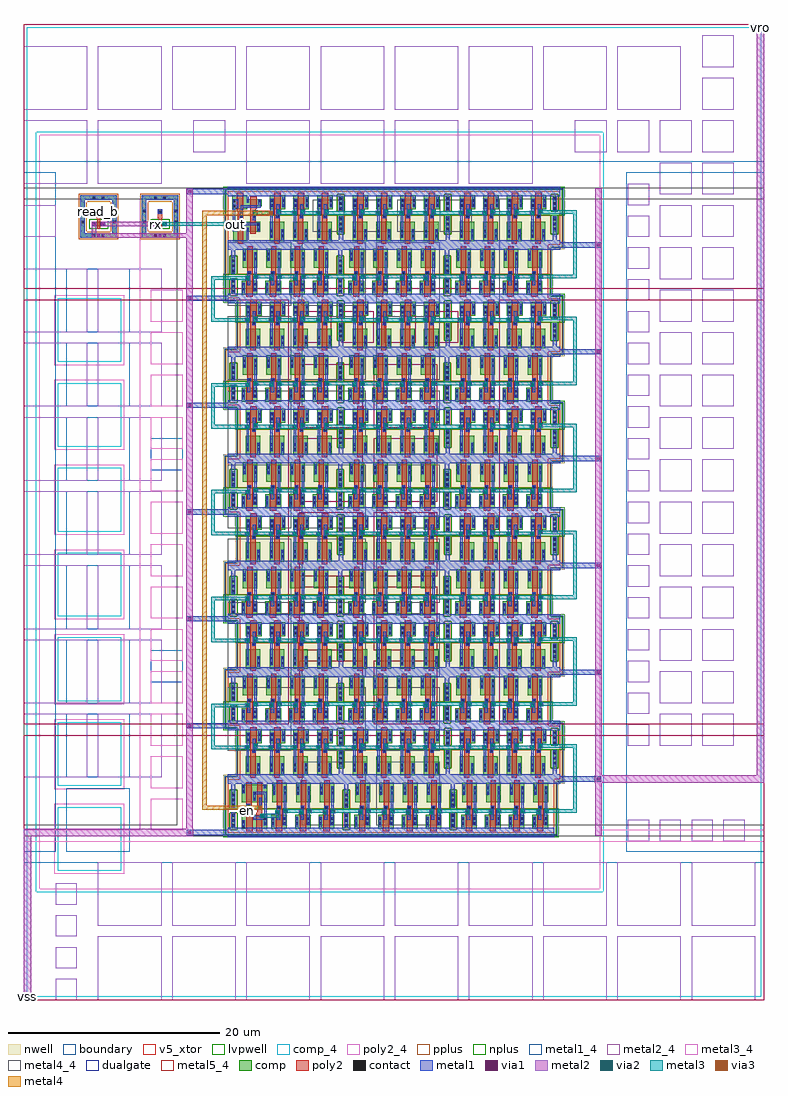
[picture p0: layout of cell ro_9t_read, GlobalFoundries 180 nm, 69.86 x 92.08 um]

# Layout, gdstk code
from math import pi, radians
import gdstk
lib = gdstk.Library(unit=1e-6, precision=1e-09)
def R(c, l, rs):  # rectangles x0, y0, x1, y1
    for r in rs: c.add(gdstk.rectangle(r[:2], r[2:], *l))
def A(c, l, x, y, w, h, nx, ny, dx, dy):  # array of equal rectangles
    R(c, l, [(x+i*dx, y+j*dy, x+i*dx+w, y+j*dy+h) for i in range(nx) for j in range(ny)])
def P(c, l, *ps):  # polygons
    for p in ps: c.add(gdstk.Polygon(p, *l))
boundary = (0, 0)
nwell = (21, 0)
comp = (22, 0)
comp_4 = (22, 4)
poly2 = (30, 0)
poly2_4 = (30, 4)
pplus = (31, 0)
nplus = (32, 0)
contact = (33, 0)
metal1 = (34, 0)
metal1_4 = (34, 4)
via1 = (35, 0)
metal2 = (36, 0)
metal2_4 = (36, 4)
via2 = (38, 0)
via3 = (40, 0)
metal3 = (42, 0)
metal3_4 = (42, 4)
metal4 = (46, 0)
metal4_4 = (46, 4)
dualgate = (55, 0)
metal5_4 = (81, 4)
v5_xtor = (112, 1)
lvpwell = (204, 0)

ro_9t__filltie = lib.new_cell('ro_9t__filltie')
R(ro_9t__filltie, boundary, [(0,0,1.12,5.04)])
R(ro_9t__filltie, nwell, [(-0.43,2.265,1.55,5.47)])
R(ro_9t__filltie, comp, [(0.36,0.41,0.72,1.785), (0.36,2.425,0.72,3.855)])
R(ro_9t__filltie, pplus, [(0.2,0.25,0.88,1.865)])
P(ro_9t__filltie, pplus, [(-0.2,2.265),(-0.2,5.24),(1.32,5.24),(1.32,2.265),(0.88,2.265),(0.88,4.015),(0.2,4.015),(0.2,2.265)])
P(ro_9t__filltie, nplus, [(-0.2,-0.2),(-0.2,2.265),(0.2,2.265),(0.2,4.015),(0.88,4.015),(0.88,1.865),(0.2,1.865),(0.2,0.25),(0.88,0.25),(0.88,4.015),(0.88,2.265),(1.32,2.265),(1.32,-0.2)])
A(ro_9t__filltie, contact, 0.43, 0.555, 0.22, 0.22, 1, 3, 0, 0.47)
A(ro_9t__filltie, contact, 0.43, 2.495, 0.22, 0.22, 1, 3, 0, 0.47)
P(ro_9t__filltie, metal1, [(0,-0.45),(0,0.45),(0.33,0.45),(0.33,1.91),(0.71,1.91),(0.71,0.45),(1.12,0.45),(1.12,-0.45)],
  [(0.33,2.34),(0.33,4.59),(0,4.59),(0,5.49),(1.12,5.49),(1.12,4.59),(0.71,4.59),(0.71,2.34)])
R(ro_9t__filltie, dualgate, [(-0.28,-0.28,1.4,5.32)])
R(ro_9t__filltie, v5_xtor, [(0,0,1.12,5.04)])
R(ro_9t__filltie, lvpwell, [(-0.43,-0.43,1.55,2.265)])
ro_9t__filltie.add(gdstk.Label('& Vendor GLOBALFOUNDRIES', (0,2), layer=63, texttype=63))
ro_9t__filltie.add(gdstk.Label('& Product GF018hv5v_green_sc9', (0,1.5), layer=63, texttype=63))
ro_9t__filltie.add(gdstk.Label('& Version 2015q2v2', (0,1), layer=63, texttype=63))
ro_9t__filltie.add(gdstk.Label('& Metric 1.00', (0,0.5), layer=63, texttype=63))

ro_9t__inv_1 = lib.new_cell('ro_9t__inv_1')
R(ro_9t__inv_1, boundary, [(0,0,2.24,5.04)])
R(ro_9t__inv_1, nwell, [(-0.43,2.265,2.67,5.47)])
R(ro_9t__inv_1, comp, [(0.18,0.345,1.66,1.665), (0.28,2.865,1.66,4.695)])
P(ro_9t__inv_1, poly2, [(0.62,0.125),(0.62,1.885),(0.72,1.885),(0.72,4.915),(1.22,4.915),(1.22,0.125)])
R(ro_9t__inv_1, pplus, [(-0.2,2.265,2.44,5.24)])
R(ro_9t__inv_1, nplus, [(-0.2,-0.2,2.44,2.265)])
R(ro_9t__inv_1, contact, [(0.25,0.74,0.47,0.96), (1.37,0.74,1.59,0.96), (0.25,1.21,0.47,1.43), (1.37,1.21,1.59,1.43), (0.79,1.835,1.01,2.055), (0.79,2.305,1.01,2.525), (0.35,3.61,0.57,3.83), (1.37,3.61,1.59,3.83), (0.35,4.08,0.57,4.3), (1.37,4.08,1.59,4.3)])
P(ro_9t__inv_1, metal1, [(0.71,1.21),(0.71,2.53),(1.07,2.53),(1.07,2.3),(1.015,2.3),(1.015,1.21)],
  [(1.27,0.68),(1.27,2.15),(1.365,2.15),(1.365,4.36),(1.595,4.36),(1.595,0.68)],
  [(0,-0.45),(0,0.45),(0.245,0.45),(0.245,1.49),(0.475,1.49),(0.475,0.45),(2.24,0.45),(2.24,-0.45)],
  [(0.345,3.55),(0.345,4.59),(0,4.59),(0,5.49),(2.24,5.49),(2.24,4.59),(0.575,4.59),(0.575,3.55)])
R(ro_9t__inv_1, dualgate, [(-0.28,-0.28,2.52,5.32)])
R(ro_9t__inv_1, v5_xtor, [(0,0,2.24,5.04)])
R(ro_9t__inv_1, lvpwell, [(-0.43,-0.43,2.67,2.265)])
ro_9t__inv_1.add(gdstk.Label('& Vendor GLOBALFOUNDRIES', (0,2), layer=63, texttype=63))
ro_9t__inv_1.add(gdstk.Label('& Product GF018hv5v_green_sc9', (0,1.5), layer=63, texttype=63))
ro_9t__inv_1.add(gdstk.Label('& Version 2015q2v2', (0,1), layer=63, texttype=63))
ro_9t__inv_1.add(gdstk.Label('& Metric 1.00', (0,0.5), layer=63, texttype=63))

ro_9t_read__density_fill = lib.new_cell('ro_9t_read__density_fill')
A(ro_9t_read__density_fill, comp_4, -16.05, -3.6, 6, 6, 1, 7, 0, 8)
P(ro_9t_read__density_fill, comp_4, [(-18.95,-15.5),(-18.95,66.08),(-18.05,66.08),(-18.05,-5.6),(35.41,-5.6),(35.41,66.08),(-18.95,66.08),(-18.95,75.98),(50.31,75.98),(50.31,-15.5)])
A(ro_9t_read__density_fill, poly2_4, -16.35, -3.9, 6.6, 6.6, 1, 7, 0, 8)
P(ro_9t_read__density_fill, poly2_4, [(-19.25,-15.8),(-19.25,65.78),(-17.75,65.78),(-17.75,-5.3),(35.11,-5.3),(35.11,65.78),(-19.25,65.78),(-19.25,76.28),(50.61,76.28),(50.61,-15.8)])
A(ro_9t_read__density_fill, metal1_4, -15.25, -1.8, 6, 6, 1, 8, 0, 7)
R(ro_9t_read__density_fill, metal1_4, [(-19.25,-15.8,50.61,-2.8), (-19.25,-1.8,-16.25,62.28), (37.61,-1.8,50.61,62.28), (-7.25,14.2,-4.25,17.2), (-7.25,34.2,-4.25,37.2), (-19.25,63.28,50.61,76.28)])
A(ro_9t_read__density_fill, metal2_4, -16.25, -15.8, 2, 2, 1, 4, 0, 3)
A(ro_9t_read__density_fill, metal2_4, -12.25, -15.8, 6, 6, 9, 2, 7, 7)
A(ro_9t_read__density_fill, metal2_4, 37.75, -0.8, 2, 2, 4, 1, 3, 0)
A(ro_9t_read__density_fill, metal2_4, -19.25, 5.2, 6, 6, 1, 7, 0, 7)
A(ro_9t_read__density_fill, metal2_4, -12.25, 5.2, 6, 6, 1, 7, 0, 7)
A(ro_9t_read__density_fill, metal2_4, 37.75, 8.2, 2, 2, 1, 18, 0, 3)
A(ro_9t_read__density_fill, metal2_4, 40.75, 8.2, 3, 3, 1, 14, 0, 4)
A(ro_9t_read__density_fill, metal2_4, 44.75, 8.2, 3, 3, 1, 14, 0, 4)
A(ro_9t_read__density_fill, metal2_4, 1.75, 61.2, 6, 6, 4, 1, 7, 0)
A(ro_9t_read__density_fill, metal2_4, 32.75, 64.2, 3, 3, 4, 1, 4, 0)
A(ro_9t_read__density_fill, metal2_4, -19.25, 68.2, 6, 6, 9, 1, 7, 0)
R(ro_9t_read__density_fill, metal2_4, [(-19.25,56.2,-16.25,59.2), (-19.25,61.2,-13.25,67.2), (-12.25,61.2,-6.25,67.2), (-3.25,64.2,-0.25,67.2), (44.75,68.2,47.75,71.2), (44.75,72.2,47.75,75.2)])
A(ro_9t_read__density_fill, metal3_4, -7.25, 0.2, 3, 3, 1, 13, 0, 4)
R(ro_9t_read__density_fill, metal3_4, [(-19.25,-15.8,50.61,-0.8), (-19.25,0.2,-8.25,59.78), (35.11,0.2,50.61,59.78), (-19.25,60.78,50.61,76.28)])
A(ro_9t_read__density_fill, metal4_4, 0, 7.7, 6, 6, 3, 7, 7, 7)
A(ro_9t_read__density_fill, metal4_4, 8, 56.7, 3, 3, 4, 1, 4, 0)
R(ro_9t_read__density_fill, metal4_4, [(-19.25,-15.8,50.61,-0.3), (-19.25,0.7,-4.75,59.78), (7,0.7,13,6.7), (14,0.7,20,6.7), (25.61,0.7,50.61,59.78), (-19.25,60.78,50.61,76.28)])
A(ro_9t_read__density_fill, metal5_4, 6.75, 10.2, 6, 6, 1, 5, 0, 7)
A(ro_9t_read__density_fill, metal5_4, 13.75, 10.2, 6, 6, 1, 5, 0, 7)
A(ro_9t_read__density_fill, metal5_4, 6.75, 46.2, 3, 3, 4, 1, 4, 0)
R(ro_9t_read__density_fill, metal5_4, [(-19.25,-15.8,50.61,9.2), (-19.25,10.2,5.75,50.28), (25.61,10.2,50.61,50.28), (-19.25,51.28,50.61,76.28)])

ro_9t__buf_1 = lib.new_cell('ro_9t__buf_1')
R(ro_9t__buf_1, boundary, [(0,0,3.36,5.04)])
R(ro_9t__buf_1, nwell, [(-0.43,2.265,3.79,5.47)])
P(ro_9t__buf_1, comp, [(0.28,2.87),(0.28,3.785),(1.52,3.785),(1.52,4.7),(2.86,4.7),(2.86,2.87)],
  [(1.52,0.345),(1.52,0.73),(0.18,0.73),(0.18,1.39),(1.52,1.39),(1.52,1.665),(2.96,1.665),(2.96,0.345)])
P(ro_9t__buf_1, poly2, [(0.62,0.51),(0.62,1.61),(0.72,1.61),(0.72,4.005),(1.22,4.005),(1.22,0.51)],
  [(1.92,0.125),(1.92,4.92),(2.42,4.92),(2.42,1.885),(2.52,1.885),(2.52,0.125)])
R(ro_9t__buf_1, pplus, [(-0.2,2.265,3.56,5.24)])
R(ro_9t__buf_1, nplus, [(-0.2,-0.2,3.56,2.265)])
R(ro_9t__buf_1, contact, [(0.25,0.8,0.47,1.02), (1.37,0.8,1.59,1.02), (2.67,0.8,2.89,1.02), (2.67,1.27,2.89,1.49), (0.79,1.83,1.01,2.05), (1.99,1.835,2.21,2.055), (0.79,2.3,1.01,2.52), (1.99,2.305,2.21,2.525), (0.35,3.025,0.57,3.245), (2.57,3.025,2.79,3.245), (1.37,3.46,1.59,3.68), (0.35,3.495,0.57,3.715), (2.57,3.495,2.79,3.715)])
R(ro_9t__buf_1, metal1, [(0.71,1.77,1.015,2.71)])
P(ro_9t__buf_1, metal1, [(0.245,0.74),(0.245,1.54),(1.93,1.54),(1.93,2.94),(0.345,2.94),(0.345,3.775),(0.575,3.775),(0.575,3.17),(2.16,3.17),(2.16,2.585),(2.215,2.585),(2.215,1.775),(2.16,1.775),(2.16,1.31),(0.475,1.31),(0.475,0.74)],
  [(2.39,0.74),(2.39,1.59),(2.665,1.59),(2.665,2.89),(2.39,2.89),(2.39,3.775),(2.895,3.775),(2.895,0.74)],
  [(0,-0.45),(0,0.45),(1.365,0.45),(1.365,1.08),(1.595,1.08),(1.595,0.45),(3.36,0.45),(3.36,-0.45)],
  [(1.365,3.4),(1.365,4.59),(0,4.59),(0,5.49),(3.36,5.49),(3.36,4.59),(1.595,4.59),(1.595,3.4)])
R(ro_9t__buf_1, dualgate, [(-0.28,-0.28,3.64,5.32)])
R(ro_9t__buf_1, v5_xtor, [(0,0,3.36,5.04)])
R(ro_9t__buf_1, lvpwell, [(-0.43,-0.43,3.79,2.265)])
ro_9t__buf_1.add(gdstk.Label('& Vendor GLOBALFOUNDRIES', (0,2), layer=63, texttype=63))
ro_9t__buf_1.add(gdstk.Label('& Product GF018hv5v_green_sc9', (0,1.5), layer=63, texttype=63))
ro_9t__buf_1.add(gdstk.Label('& Version 2015q2v2', (0,1), layer=63, texttype=63))
ro_9t__buf_1.add(gdstk.Label('& Metric 1.00', (0,0.5), layer=63, texttype=63))

sw_n__core = lib.new_cell('sw_n__core')
R(sw_n__core, comp, [(0,0,1.28,0.42)])
P(sw_n__core, comp, [(-1.07,-1.07),(-1.07,2.49),(-0.65,2.49),(-0.65,-0.65),(1.93,-0.65),(1.93,2.49),(-1.07,2.49),(-1.07,2.91),(2.35,2.91),(2.35,-1.07)])
R(sw_n__core, poly2, [(0.5,-0.25,0.78,0.42), (0.5,0.42,0.78,0.77), (0.43,0.77,0.85,1.59)])
P(sw_n__core, pplus, [(-1.23,-1.23),(-1.23,2.33),(-0.49,2.33),(-0.49,-0.49),(1.77,-0.49),(1.77,2.33),(-1.23,2.33),(-1.23,3.07),(2.51,3.07),(2.51,-1.23)])
R(sw_n__core, nplus, [(-0.25,-0.25,1.53,0.67)])
R(sw_n__core, contact, [(0.1,-0.97,0.32,-0.75), (0.96,-0.97,1.18,-0.75), (0.1,0.1,0.32,0.32), (0.96,0.1,1.18,0.32), (-0.97,0.285,-0.75,0.505), (2.03,0.285,2.25,0.505), (0.53,1.27,0.75,1.49), (-0.97,1.335,-0.75,1.555), (2.03,1.335,2.25,1.555), (0.1,2.59,0.32,2.81), (0.96,2.59,1.18,2.81)])
R(sw_n__core, metal1, [(0,0,0.42,0.42), (0.86,0,1.28,0.42), (0.43,1.17,0.85,1.59)])
P(sw_n__core, metal1, [(-1.07,-1.07),(-1.07,2.49),(-0.65,2.49),(-0.65,-0.65),(1.93,-0.65),(1.93,2.49),(-1.07,2.49),(-1.07,2.91),(2.35,2.91),(2.35,-1.07)])

sw_n = lib.new_cell('sw_n')
sw_n.add(gdstk.Reference(sw_n__core, (0,0)))

cryo_read_switch = lib.new_cell('cryo_read_switch')
R(cryo_read_switch, via1, [(0.51,-0.99,0.77,-0.73), (6.31,-0.99,6.57,-0.73), (0.94,0.08,1.2,0.34), (5.88,0.08,6.14,0.34), (6.74,0.08,7,0.34)])
R(cryo_read_switch, metal2, [(0.44,-1.06,0.84,-0.66), (0.44,-1.06,7.07,-0.66), (6.24,-1.06,6.64,-0.66), (6.67,-1.06,7.07,0.41), (0.87,0.01,1.27,0.41), (0.87,0.01,6.21,0.41), (5.81,0.01,6.21,0.41), (6.67,0.01,7.07,0.41)])
cryo_read_switch.add(gdstk.Reference(sw_n, (0,0)))
cryo_read_switch.add(gdstk.Reference(sw_n, (5.8,0)))

ro_9t__nand2_1 = lib.new_cell('ro_9t__nand2_1')
R(ro_9t__nand2_1, boundary, [(0,0,2.8,5.04)])
R(ro_9t__nand2_1, nwell, [(-0.43,2.265,3.23,5.47)])
R(ro_9t__nand2_1, comp, [(0.185,0.345,2.585,1.665), (0.185,2.865,2.585,4.51)])
P(ro_9t__nand2_1, poly2, [(0.625,0.125),(0.625,4.73),(1.125,4.73),(1.125,1.885),(1.225,1.885),(1.225,0.125)],
  [(1.545,0.125),(1.545,1.885),(1.645,1.885),(1.645,4.73),(2.145,4.73),(2.145,0.125)])
R(ro_9t__nand2_1, pplus, [(-0.2,2.265,3,5.24)])
R(ro_9t__nand2_1, nplus, [(-0.2,-0.2,3,2.265)])
R(ro_9t__nand2_1, contact, [(0.255,0.415,0.475,0.635), (2.295,0.74,2.515,0.96), (0.255,0.885,0.475,1.105), (2.295,1.21,2.515,1.43), (1.835,2.39,2.055,2.61), (0.695,2.475,0.915,2.695), (1.275,3.08,1.495,3.3), (1.275,3.55,1.495,3.77), (0.255,3.75,0.475,3.97), (0.255,4.22,0.475,4.44), (2.295,4.22,2.515,4.44)])
R(ro_9t__nand2_1, metal1, [(0.635,1.77,0.975,2.71), (1.83,2.33,2.09,3.27)])
P(ro_9t__nand2_1, metal1, [(2.29,0.68),(2.29,1.21),(1.27,1.21),(1.27,1.59),(2.32,1.59),(2.32,3.6),(1.53,3.6),(1.53,3.02),(1.27,3.02),(1.27,3.83),(2.55,3.83),(2.55,0.68)],
  [(0,-0.45),(0,0.45),(0.25,0.45),(0.25,1.165),(0.48,1.165),(0.48,0.45),(2.8,0.45),(2.8,-0.45)],
  [(0.25,3.69),(0.25,4.59),(0,4.59),(0,5.49),(2.8,5.49),(2.8,4.59),(2.52,4.59),(2.52,4.16),(2.29,4.16),(2.29,4.59),(0.48,4.59),(0.48,3.69)])
R(ro_9t__nand2_1, dualgate, [(-0.28,-0.28,3.08,5.32)])
R(ro_9t__nand2_1, v5_xtor, [(0,0,2.8,5.04)])
R(ro_9t__nand2_1, lvpwell, [(-0.43,-0.43,3.23,2.265)])
ro_9t__nand2_1.add(gdstk.Label('& Vendor GLOBALFOUNDRIES', (0,2), layer=63, texttype=63))
ro_9t__nand2_1.add(gdstk.Label('& Product GF018hv5v_green_sc9', (0,1.5), layer=63, texttype=63))
ro_9t__nand2_1.add(gdstk.Label('& Version 2015q2v2', (0,1), layer=63, texttype=63))
ro_9t__nand2_1.add(gdstk.Label('& Metric 1.00', (0,0.5), layer=63, texttype=63))

ro_9t_read = lib.new_cell('ro_9t_read')
A(ro_9t_read, metal1, 4.46, 1.72, 0.4, 0.4, 3, 1, 2.24, 0)
A(ro_9t_read, metal1, 12.3, 1.72, 0.4, 0.4, 4, 1, 2.24, 0)
A(ro_9t_read, metal1, 22.38, 1.72, 0.4, 0.4, 4, 1, 2.24, 0)
A(ro_9t_read, metal1, 5.26, 1.84, 0.4, 0.4, 3, 1, 2.24, 0)
A(ro_9t_read, metal1, 13.1, 1.84, 0.4, 0.4, 4, 1, 2.24, 0)
A(ro_9t_read, metal1, 23.18, 1.84, 0.4, 0.4, 4, 1, 2.24, 0)
A(ro_9t_read, metal1, 1.62, 7.84, 0.4, 0.4, 4, 5, 2.24, 10.08)
A(ro_9t_read, metal1, 11.7, 7.84, 0.4, 0.4, 4, 6, 2.24, 10.08)
A(ro_9t_read, metal1, 21.78, 7.84, 0.4, 0.4, 4, 6, 2.24, 10.08)
A(ro_9t_read, metal1, 2.42, 7.96, 0.4, 0.4, 4, 5, 2.24, 10.08)
A(ro_9t_read, metal1, 12.5, 7.96, 0.4, 0.4, 4, 6, 2.24, 10.08)
A(ro_9t_read, metal1, 22.58, 7.96, 0.4, 0.4, 4, 6, 2.24, 10.08)
A(ro_9t_read, metal1, 1.66, 11.8, 0.4, 0.4, 4, 5, 2.24, 10.08)
A(ro_9t_read, metal1, 11.74, 11.8, 0.4, 0.4, 4, 5, 2.24, 10.08)
A(ro_9t_read, metal1, 21.82, 11.8, 0.4, 0.4, 4, 5, 2.24, 10.08)
A(ro_9t_read, metal1, 2.46, 11.92, 0.4, 0.4, 4, 5, 2.24, 10.08)
A(ro_9t_read, metal1, 12.54, 11.92, 0.4, 0.4, 4, 5, 2.24, 10.08)
A(ro_9t_read, metal1, 22.62, 11.92, 0.4, 0.4, 4, 5, 2.24, 10.08)
A(ro_9t_read, metal1, 3.86, 58.24, 0.4, 0.4, 3, 1, 2.24, 0)
A(ro_9t_read, metal1, 4.66, 58.36, 0.4, 0.4, 3, 1, 2.24, 0)
R(ro_9t_read, metal1, [(-3.85,-0.25,0.75,0.25), (-3.8,-0.2,-3.4,0.2), (3.08,1.38,3.48,1.78), (1.66,1.9,2.06,2.3), (2.8,2.14,3.2,2.54), (30.61,4.79,35.21,5.29), (30.61,4.79,35.21,5.29), (34.76,4.84,35.16,5.24), (34.76,4.84,35.16,5.24), (-3.85,9.83,0.75,10.33), (-3.85,9.83,0.75,10.33), (-3.8,9.88,-3.4,10.28), (-3.8,9.88,-3.4,10.28), (30.61,14.87,35.21,15.37), (30.61,14.87,35.21,15.37), (34.76,14.92,35.16,15.32), (34.76,14.92,35.16,15.32), (-3.85,19.91,0.75,20.41), (-3.85,19.91,0.75,20.41), (-3.8,19.96,-3.4,20.36), (-3.8,19.96,-3.4,20.36), (30.61,24.95,35.21,25.45), (30.61,24.95,35.21,25.45), (34.76,25,35.16,25.4), (34.76,25,35.16,25.4), (-3.85,29.99,0.75,30.49), (-3.85,29.99,0.75,30.49), (-3.8,30.04,-3.4,30.44), (-3.8,30.04,-3.4,30.44), (30.61,35.03,35.21,35.53), (30.61,35.03,35.21,35.53), (34.76,35.08,35.16,35.48), (34.76,35.08,35.16,35.48), (-3.85,40.07,0.75,40.57), (-3.85,40.07,0.75,40.57), (-3.8,40.12,-3.4,40.52), (-3.8,40.12,-3.4,40.52), (30.61,45.11,35.21,45.61), (30.61,45.11,35.21,45.61), (34.76,45.16,35.16,45.56), (34.76,45.16,35.16,45.56), (-3.85,50.15,0.75,50.65), (-3.85,50.15,0.75,50.65), (-3.8,50.2,-3.4,50.6), (-3.8,50.2,-3.4,50.6), (30.61,55.19,35.21,55.69), (30.61,55.19,35.21,55.69), (34.76,55.24,35.16,55.64), (34.76,55.24,35.16,55.64), (-6.18,57.18,-5.74,57.62), (0.52,57.2,0.92,57.6), (2.42,58.3,2.82,58.7), (-3.85,60.23,0.75,60.73), (-3.8,60.28,-3.4,60.68)])
A(ro_9t_read, via1, 4.53, 1.79, 0.26, 0.26, 3, 1, 2.24, 0)
A(ro_9t_read, via1, 12.37, 1.79, 0.26, 0.26, 4, 1, 2.24, 0)
A(ro_9t_read, via1, 22.45, 1.79, 0.26, 0.26, 4, 1, 2.24, 0)
A(ro_9t_read, via1, 5.33, 1.91, 0.26, 0.26, 3, 1, 2.24, 0)
A(ro_9t_read, via1, 13.17, 1.91, 0.26, 0.26, 4, 1, 2.24, 0)
A(ro_9t_read, via1, 23.25, 1.91, 0.26, 0.26, 4, 1, 2.24, 0)
A(ro_9t_read, via1, 1.69, 7.91, 0.26, 0.26, 4, 5, 2.24, 10.08)
A(ro_9t_read, via1, 11.77, 7.91, 0.26, 0.26, 4, 6, 2.24, 10.08)
A(ro_9t_read, via1, 21.85, 7.91, 0.26, 0.26, 4, 6, 2.24, 10.08)
A(ro_9t_read, via1, 2.49, 8.03, 0.26, 0.26, 4, 5, 2.24, 10.08)
A(ro_9t_read, via1, 12.57, 8.03, 0.26, 0.26, 4, 6, 2.24, 10.08)
A(ro_9t_read, via1, 22.65, 8.03, 0.26, 0.26, 4, 6, 2.24, 10.08)
A(ro_9t_read, via1, 1.73, 11.87, 0.26, 0.26, 4, 5, 2.24, 10.08)
A(ro_9t_read, via1, 11.81, 11.87, 0.26, 0.26, 4, 5, 2.24, 10.08)
A(ro_9t_read, via1, 21.89, 11.87, 0.26, 0.26, 4, 5, 2.24, 10.08)
A(ro_9t_read, via1, 2.53, 11.99, 0.26, 0.26, 4, 5, 2.24, 10.08)
A(ro_9t_read, via1, 12.61, 11.99, 0.26, 0.26, 4, 5, 2.24, 10.08)
A(ro_9t_read, via1, 22.69, 11.99, 0.26, 0.26, 4, 5, 2.24, 10.08)
A(ro_9t_read, via1, 3.93, 58.31, 0.26, 0.26, 3, 1, 2.24, 0)
A(ro_9t_read, via1, 4.73, 58.43, 0.26, 0.26, 3, 1, 2.24, 0)
R(ro_9t_read, via1, [(-3.73,-0.13,-3.47,0.13), (3.15,1.45,3.41,1.71), (1.73,1.97,1.99,2.23), (2.87,2.21,3.13,2.47), (34.83,4.91,35.09,5.17), (34.83,4.91,35.09,5.17), (-3.73,9.95,-3.47,10.21), (-3.73,9.95,-3.47,10.21), (34.83,14.99,35.09,15.25), (34.83,14.99,35.09,15.25), (-3.73,20.03,-3.47,20.29), (-3.73,20.03,-3.47,20.29), (34.83,25.07,35.09,25.33), (34.83,25.07,35.09,25.33), (-3.73,30.11,-3.47,30.37), (-3.73,30.11,-3.47,30.37), (34.83,35.15,35.09,35.41), (34.83,35.15,35.09,35.41), (-3.73,40.19,-3.47,40.45), (-3.73,40.19,-3.47,40.45), (34.83,45.23,35.09,45.49), (34.83,45.23,35.09,45.49), (-3.73,50.27,-3.47,50.53), (-3.73,50.27,-3.47,50.53), (34.83,55.31,35.09,55.57), (34.83,55.31,35.09,55.57), (-6.09,57.27,-5.83,57.53), (0.59,57.27,0.85,57.53), (2.49,58.37,2.75,58.63), (-3.73,60.35,-3.47,60.61)])
A(ro_9t_read, metal2, 4.46, 1.72, 0.4, 0.4, 3, 1, 2.24, 0)
A(ro_9t_read, metal2, 12.3, 1.72, 0.4, 0.4, 4, 1, 2.24, 0)
A(ro_9t_read, metal2, 22.38, 1.72, 0.4, 0.4, 4, 1, 2.24, 0)
A(ro_9t_read, metal2, 5.26, 1.84, 0.4, 0.4, 3, 1, 2.24, 0)
A(ro_9t_read, metal2, 13.1, 1.84, 0.4, 0.4, 4, 1, 2.24, 0)
A(ro_9t_read, metal2, 23.18, 1.84, 0.4, 0.4, 4, 1, 2.24, 0)
A(ro_9t_read, metal2, 1.62, 7.84, 0.4, 0.4, 4, 5, 2.24, 10.08)
A(ro_9t_read, metal2, 11.7, 7.84, 0.4, 0.4, 4, 6, 2.24, 10.08)
A(ro_9t_read, metal2, 21.78, 7.84, 0.4, 0.4, 4, 6, 2.24, 10.08)
A(ro_9t_read, metal2, 2.42, 7.96, 0.4, 0.4, 4, 5, 2.24, 10.08)
A(ro_9t_read, metal2, 12.5, 7.96, 0.4, 0.4, 4, 6, 2.24, 10.08)
A(ro_9t_read, metal2, 22.58, 7.96, 0.4, 0.4, 4, 6, 2.24, 10.08)
A(ro_9t_read, metal2, 1.66, 11.8, 0.4, 0.4, 4, 5, 2.24, 10.08)
A(ro_9t_read, metal2, 11.74, 11.8, 0.4, 0.4, 4, 5, 2.24, 10.08)
A(ro_9t_read, metal2, 21.82, 11.8, 0.4, 0.4, 4, 5, 2.24, 10.08)
A(ro_9t_read, metal2, 2.46, 11.92, 0.4, 0.4, 4, 5, 2.24, 10.08)
A(ro_9t_read, metal2, 12.54, 11.92, 0.4, 0.4, 4, 5, 2.24, 10.08)
A(ro_9t_read, metal2, 22.62, 11.92, 0.4, 0.4, 4, 5, 2.24, 10.08)
A(ro_9t_read, metal2, 3.86, 58.24, 0.4, 0.4, 3, 1, 2.24, 0)
A(ro_9t_read, metal2, 4.66, 58.36, 0.4, 0.4, 3, 1, 2.24, 0)
R(ro_9t_read, metal2, [(-19.25,-15.8,-18.55,0.35), (-19.25,-0.35,-3.25,0.35), (-3.9,-0.3,-3.3,60.78), (34.66,-0.3,35.26,60.78), (-3.8,-0.2,-3.4,0.2), (3.08,1.38,3.48,1.78), (1.66,1.9,2.06,2.3), (2.8,2.14,3.2,2.54), (34.61,4.69,50.61,5.39), (49.91,4.69,50.61,76.28), (34.76,4.84,35.16,5.24), (34.76,4.84,35.16,5.24), (-3.8,9.88,-3.4,10.28), (-3.8,9.88,-3.4,10.28), (34.76,14.92,35.16,15.32), (34.76,14.92,35.16,15.32), (-3.8,19.96,-3.4,20.36), (-3.8,19.96,-3.4,20.36), (34.76,25,35.16,25.4), (34.76,25,35.16,25.4), (-3.8,30.04,-3.4,30.44), (-3.8,30.04,-3.4,30.44), (34.76,35.08,35.16,35.48), (34.76,35.08,35.16,35.48), (-3.8,40.12,-3.4,40.52), (-3.8,40.12,-3.4,40.52), (34.76,45.16,35.16,45.56), (34.76,45.16,35.16,45.56), (-3.8,50.2,-3.4,50.6), (-3.8,50.2,-3.4,50.6), (34.76,55.24,35.16,55.64), (34.76,55.24,35.16,55.64), (-12.39,56.13,-3.4,56.53), (-6.18,57.18,-5.74,57.62), (0.52,57.2,0.92,57.6), (2.42,58.3,2.82,58.7), (-3.8,60.28,-3.4,60.68)])
A(ro_9t_read, via2, 4.53, 1.79, 0.26, 0.26, 3, 1, 2.24, 0)
A(ro_9t_read, via2, 12.37, 1.79, 0.26, 0.26, 4, 1, 2.24, 0)
A(ro_9t_read, via2, 22.45, 1.79, 0.26, 0.26, 4, 1, 2.24, 0)
A(ro_9t_read, via2, 5.33, 1.91, 0.26, 0.26, 3, 1, 2.24, 0)
A(ro_9t_read, via2, 13.17, 1.91, 0.26, 0.26, 4, 1, 2.24, 0)
A(ro_9t_read, via2, 23.25, 1.91, 0.26, 0.26, 4, 1, 2.24, 0)
A(ro_9t_read, via2, 1.69, 7.91, 0.26, 0.26, 4, 5, 2.24, 10.08)
A(ro_9t_read, via2, 11.77, 7.91, 0.26, 0.26, 4, 6, 2.24, 10.08)
A(ro_9t_read, via2, 21.85, 7.91, 0.26, 0.26, 4, 6, 2.24, 10.08)
A(ro_9t_read, via2, 2.49, 8.03, 0.26, 0.26, 4, 5, 2.24, 10.08)
A(ro_9t_read, via2, 12.57, 8.03, 0.26, 0.26, 4, 6, 2.24, 10.08)
A(ro_9t_read, via2, 22.65, 8.03, 0.26, 0.26, 4, 6, 2.24, 10.08)
A(ro_9t_read, via2, 1.73, 11.87, 0.26, 0.26, 4, 5, 2.24, 10.08)
A(ro_9t_read, via2, 11.81, 11.87, 0.26, 0.26, 4, 5, 2.24, 10.08)
A(ro_9t_read, via2, 21.89, 11.87, 0.26, 0.26, 4, 5, 2.24, 10.08)
A(ro_9t_read, via2, 2.53, 11.99, 0.26, 0.26, 4, 5, 2.24, 10.08)
A(ro_9t_read, via2, 12.61, 11.99, 0.26, 0.26, 4, 5, 2.24, 10.08)
A(ro_9t_read, via2, 22.69, 11.99, 0.26, 0.26, 4, 5, 2.24, 10.08)
A(ro_9t_read, via2, 3.93, 58.31, 0.26, 0.26, 3, 1, 2.24, 0)
A(ro_9t_read, via2, 4.73, 58.43, 0.26, 0.26, 3, 1, 2.24, 0)
R(ro_9t_read, via2, [(3.15,1.45,3.41,1.71), (1.73,1.97,1.99,2.23), (2.87,2.21,3.13,2.47), (-6.09,57.27,-5.83,57.53), (0.59,57.27,0.85,57.53), (2.49,58.37,2.75,58.63)])
R(ro_9t_read, via3, [(2.87,2.21,3.13,2.47), (3.93,58.31,4.19,58.57)])
A(ro_9t_read, metal3, 4.46, 1.72, 0.4, 0.4, 3, 1, 2.24, 0)
A(ro_9t_read, metal3, 12.3, 1.72, 0.4, 0.4, 4, 1, 2.24, 0)
A(ro_9t_read, metal3, 22.38, 1.72, 0.4, 0.4, 4, 1, 2.24, 0)
A(ro_9t_read, metal3, 12.33, 1.75, 0.34, 0.46, 4, 1, 2.24, 0)
A(ro_9t_read, metal3, 22.41, 1.75, 0.34, 0.46, 4, 1, 2.24, 0)
A(ro_9t_read, metal3, 5.26, 1.84, 0.4, 0.4, 3, 1, 2.24, 0)
A(ro_9t_read, metal3, 13.1, 1.84, 0.4, 0.4, 4, 1, 2.24, 0)
A(ro_9t_read, metal3, 23.18, 1.84, 0.4, 0.4, 4, 1, 2.24, 0)
A(ro_9t_read, metal3, 13.13, 1.87, 1.78, 0.34, 3, 1, 2.24, 0)
A(ro_9t_read, metal3, 23.21, 1.87, 1.78, 0.34, 3, 1, 2.24, 0)
A(ro_9t_read, metal3, 32.59, 1.87, 0.34, 6.46, 1, 6, 0, 10.08)
A(ro_9t_read, metal3, 1.62, 7.84, 0.4, 0.4, 4, 5, 2.24, 10.08)
A(ro_9t_read, metal3, 11.7, 7.84, 0.4, 0.4, 4, 6, 2.24, 10.08)
A(ro_9t_read, metal3, 21.78, 7.84, 0.4, 0.4, 4, 6, 2.24, 10.08)
A(ro_9t_read, metal3, -1.57, 7.87, 0.34, 4.3, 1, 5, 0, 10.08)
A(ro_9t_read, metal3, -1.57, 7.87, 3.56, 0.34, 1, 5, 0, 10.08)
A(ro_9t_read, metal3, 2.45, 7.87, 1.78, 0.34, 3, 6, 2.24, 10.08)
A(ro_9t_read, metal3, 2.45, 7.87, 0.34, 0.46, 4, 5, 2.24, 10.08)
A(ro_9t_read, metal3, 9.17, 7.87, 2.9, 0.34, 1, 6, 0, 10.08)
A(ro_9t_read, metal3, 12.53, 7.87, 1.78, 0.34, 3, 6, 2.24, 10.08)
A(ro_9t_read, metal3, 12.53, 7.87, 0.34, 0.46, 4, 6, 2.24, 10.08)
A(ro_9t_read, metal3, 19.25, 7.87, 2.9, 0.34, 1, 6, 0, 10.08)
A(ro_9t_read, metal3, 22.61, 7.87, 1.78, 0.34, 3, 6, 2.24, 10.08)
A(ro_9t_read, metal3, 22.61, 7.87, 0.34, 0.46, 3, 6, 2.24, 10.08)
A(ro_9t_read, metal3, 2.42, 7.96, 0.4, 0.4, 4, 5, 2.24, 10.08)
A(ro_9t_read, metal3, 12.5, 7.96, 0.4, 0.4, 4, 6, 2.24, 10.08)
A(ro_9t_read, metal3, 22.58, 7.96, 0.4, 0.4, 4, 6, 2.24, 10.08)
A(ro_9t_read, metal3, 29.33, 7.99, 3.6, 0.34, 1, 6, 0, 10.08)
A(ro_9t_read, metal3, 1.66, 11.8, 0.4, 0.4, 4, 5, 2.24, 10.08)
A(ro_9t_read, metal3, 11.74, 11.8, 0.4, 0.4, 4, 5, 2.24, 10.08)
A(ro_9t_read, metal3, 21.82, 11.8, 0.4, 0.4, 4, 5, 2.24, 10.08)
A(ro_9t_read, metal3, -1.57, 11.83, 3.6, 0.34, 1, 5, 0, 10.08)
A(ro_9t_read, metal3, 3.93, 11.83, 0.34, 0.46, 3, 5, 2.24, 10.08)
A(ro_9t_read, metal3, 11.77, 11.83, 0.34, 0.46, 4, 5, 2.24, 10.08)
A(ro_9t_read, metal3, 21.85, 11.83, 0.34, 0.46, 4, 5, 2.24, 10.08)
A(ro_9t_read, metal3, 2.46, 11.92, 0.4, 0.4, 4, 5, 2.24, 10.08)
A(ro_9t_read, metal3, 12.54, 11.92, 0.4, 0.4, 4, 5, 2.24, 10.08)
A(ro_9t_read, metal3, 22.62, 11.92, 0.4, 0.4, 4, 5, 2.24, 10.08)
A(ro_9t_read, metal3, 2.49, 11.95, 1.78, 0.34, 3, 5, 2.24, 10.08)
A(ro_9t_read, metal3, 9.21, 11.95, 2.9, 0.34, 1, 5, 0, 10.08)
A(ro_9t_read, metal3, 12.57, 11.95, 1.78, 0.34, 3, 5, 2.24, 10.08)
A(ro_9t_read, metal3, 19.29, 11.95, 2.9, 0.34, 1, 5, 0, 10.08)
A(ro_9t_read, metal3, 22.65, 11.95, 1.78, 0.34, 3, 5, 2.24, 10.08)
A(ro_9t_read, metal3, 29.37, 11.95, 3.56, 0.34, 1, 5, 0, 10.08)
A(ro_9t_read, metal3, 3.86, 58.24, 0.4, 0.4, 3, 1, 2.24, 0)
A(ro_9t_read, metal3, 4.69, 58.27, 0.34, 0.46, 3, 1, 2.24, 0)
A(ro_9t_read, metal3, 4.66, 58.36, 0.4, 0.4, 3, 1, 2.24, 0)
R(ro_9t_read, metal3, [(3.08,1.38,3.48,1.78), (3.11,1.41,4.83,1.75), (4.49,1.41,4.83,2.09), (6.73,1.75,7.07,2.21), (8.97,1.75,9.31,2.21), (5.29,1.87,7.07,2.21), (7.53,1.87,9.31,2.21), (9.77,1.87,12.67,2.21), (19.85,1.87,22.75,2.21), (29.93,1.87,32.93,2.21), (1.66,1.9,2.06,2.3), (2.8,2.14,3.2,2.54), (2.8,2.14,3.2,2.54), (-6.18,57.18,-5.74,57.62), (0.52,57.2,0.92,57.6), (-6.13,57.23,0.89,57.57), (3.86,58.24,4.26,58.64), (2.45,58.27,2.79,58.67), (2.42,58.3,2.82,58.7)])
R(ro_9t_read, metal4, [(-2.4,2.14,-2,58.64), (-2.4,2.14,3.2,2.54), (2.8,2.14,3.2,2.54), (-2.4,58.24,4.26,58.64), (3.86,58.24,4.26,58.64)])
ro_9t_read.add(gdstk.Reference(ro_9t__filltie, (31.36,30.24), rotation=pi))
ro_9t_read.add(gdstk.Reference(ro_9t__inv_1, (30.24,30.24), rotation=pi))
ro_9t_read.add(gdstk.Reference(ro_9t__inv_1, (28,30.24), rotation=pi))
ro_9t_read.add(gdstk.Reference(ro_9t__inv_1, (25.76,30.24), rotation=pi))
ro_9t_read.add(gdstk.Reference(ro_9t__inv_1, (23.52,30.24), rotation=pi))
ro_9t_read.add(gdstk.Reference(ro_9t__filltie, (21.28,30.24), rotation=pi))
ro_9t_read.add(gdstk.Reference(ro_9t__inv_1, (20.16,30.24), rotation=pi))
ro_9t_read.add(gdstk.Reference(ro_9t__inv_1, (17.92,30.24), rotation=pi))
ro_9t_read.add(gdstk.Reference(ro_9t__inv_1, (15.68,30.24), rotation=pi))
ro_9t_read.add(gdstk.Reference(ro_9t__inv_1, (13.44,30.24), rotation=pi))
ro_9t_read.add(gdstk.Reference(ro_9t__filltie, (11.2,30.24), rotation=pi))
ro_9t_read.add(gdstk.Reference(ro_9t__inv_1, (10.08,30.24), rotation=pi))
ro_9t_read.add(gdstk.Reference(ro_9t__inv_1, (7.84,30.24), rotation=pi))
ro_9t_read.add(gdstk.Reference(ro_9t__inv_1, (5.6,30.24), rotation=pi))
ro_9t_read.add(gdstk.Reference(ro_9t__inv_1, (3.36,30.24), rotation=pi))
ro_9t_read.add(gdstk.Reference(ro_9t__filltie, (0,30.24)))
ro_9t_read.add(gdstk.Reference(ro_9t__inv_1, (1.12,30.24)))
ro_9t_read.add(gdstk.Reference(ro_9t__inv_1, (3.36,30.24)))
ro_9t_read.add(gdstk.Reference(ro_9t__inv_1, (5.6,30.24)))
ro_9t_read.add(gdstk.Reference(ro_9t__inv_1, (7.84,30.24)))
ro_9t_read.add(gdstk.Reference(ro_9t__filltie, (10.08,30.24)))
ro_9t_read.add(gdstk.Reference(ro_9t__inv_1, (11.2,30.24)))
ro_9t_read.add(gdstk.Reference(ro_9t__inv_1, (13.44,30.24)))
ro_9t_read.add(gdstk.Reference(ro_9t__inv_1, (15.68,30.24)))
ro_9t_read.add(gdstk.Reference(ro_9t__inv_1, (17.92,30.24)))
ro_9t_read.add(gdstk.Reference(ro_9t__filltie, (20.16,30.24)))
ro_9t_read.add(gdstk.Reference(ro_9t__inv_1, (21.28,30.24)))
ro_9t_read.add(gdstk.Reference(ro_9t__inv_1, (23.52,30.24)))
ro_9t_read.add(gdstk.Reference(ro_9t__inv_1, (25.76,30.24)))
ro_9t_read.add(gdstk.Reference(ro_9t__inv_1, (28,30.24)))
ro_9t_read.add(gdstk.Reference(ro_9t__inv_1, (17.92,40.32), rotation=pi))
ro_9t_read.add(gdstk.Reference(ro_9t__inv_1, (15.68,40.32), rotation=pi))
ro_9t_read.add(gdstk.Reference(ro_9t__inv_1, (13.44,40.32)))
ro_9t_read.add(gdstk.Reference(ro_9t__inv_1, (15.68,40.32)))
ro_9t_read.add(gdstk.Reference(ro_9t__inv_1, (17.92,50.4), rotation=pi))
ro_9t_read.add(gdstk.Reference(ro_9t__inv_1, (15.68,50.4), rotation=pi))
ro_9t_read.add(gdstk.Reference(ro_9t__inv_1, (13.44,50.4)))
ro_9t_read.add(gdstk.Reference(ro_9t__inv_1, (15.68,50.4)))
ro_9t_read.add(gdstk.Reference(ro_9t__inv_1, (17.92,60.48), rotation=pi))
ro_9t_read.add(gdstk.Reference(ro_9t__inv_1, (15.68,60.48), rotation=pi))
ro_9t_read.add(gdstk.Reference(ro_9t__inv_1, (15.68,20.16), rotation=pi))
ro_9t_read.add(gdstk.Reference(ro_9t__inv_1, (13.44,20.16)))
ro_9t_read.add(gdstk.Reference(ro_9t__inv_1, (15.68,20.16)))
ro_9t_read.add(gdstk.Reference(ro_9t__inv_1, (14,0)))
ro_9t_read.add(gdstk.Reference(ro_9t__inv_1, (17.92,10.08), rotation=pi))
ro_9t_read.add(gdstk.Reference(ro_9t__inv_1, (15.68,10.08), rotation=pi))
ro_9t_read.add(gdstk.Reference(ro_9t__inv_1, (13.44,10.08)))
ro_9t_read.add(gdstk.Reference(ro_9t__inv_1, (15.68,10.08)))
ro_9t_read.add(gdstk.Reference(ro_9t__inv_1, (17.92,20.16), rotation=pi))
ro_9t_read.add(gdstk.Reference(ro_9t_read__density_fill, (0,0)))
ro_9t_read.add(gdstk.Reference(ro_9t__inv_1, (23.52,50.4)))
ro_9t_read.add(gdstk.Reference(ro_9t__inv_1, (25.76,50.4)))
ro_9t_read.add(gdstk.Reference(ro_9t__inv_1, (28,50.4)))
ro_9t_read.add(gdstk.Reference(ro_9t__filltie, (31.36,60.48), rotation=pi))
ro_9t_read.add(gdstk.Reference(ro_9t__inv_1, (30.24,60.48), rotation=pi))
ro_9t_read.add(gdstk.Reference(ro_9t__inv_1, (28,60.48), rotation=pi))
ro_9t_read.add(gdstk.Reference(ro_9t__inv_1, (25.76,60.48), rotation=pi))
ro_9t_read.add(gdstk.Reference(ro_9t__inv_1, (23.52,60.48), rotation=pi))
ro_9t_read.add(gdstk.Reference(ro_9t__filltie, (21.28,60.48), rotation=pi))
ro_9t_read.add(gdstk.Reference(ro_9t__inv_1, (20.16,60.48), rotation=pi))
ro_9t_read.add(gdstk.Reference(ro_9t__inv_1, (30.24,40.32), rotation=pi))
ro_9t_read.add(gdstk.Reference(ro_9t__inv_1, (28,40.32), rotation=pi))
ro_9t_read.add(gdstk.Reference(ro_9t__inv_1, (25.76,40.32), rotation=pi))
ro_9t_read.add(gdstk.Reference(ro_9t__inv_1, (17.92,40.32)))
ro_9t_read.add(gdstk.Reference(ro_9t__filltie, (20.16,40.32)))
ro_9t_read.add(gdstk.Reference(ro_9t__inv_1, (21.28,40.32)))
ro_9t_read.add(gdstk.Reference(ro_9t__inv_1, (23.52,40.32)))
ro_9t_read.add(gdstk.Reference(ro_9t__inv_1, (25.76,40.32)))
ro_9t_read.add(gdstk.Reference(ro_9t__inv_1, (28,40.32)))
ro_9t_read.add(gdstk.Reference(ro_9t__filltie, (31.36,50.4), rotation=pi))
ro_9t_read.add(gdstk.Reference(ro_9t__inv_1, (30.24,50.4), rotation=pi))
ro_9t_read.add(gdstk.Reference(ro_9t__inv_1, (28,50.4), rotation=pi))
ro_9t_read.add(gdstk.Reference(ro_9t__inv_1, (25.76,50.4), rotation=pi))
ro_9t_read.add(gdstk.Reference(ro_9t__inv_1, (23.52,50.4), rotation=pi))
ro_9t_read.add(gdstk.Reference(ro_9t__filltie, (21.28,50.4), rotation=pi))
ro_9t_read.add(gdstk.Reference(ro_9t__inv_1, (20.16,50.4), rotation=pi))
ro_9t_read.add(gdstk.Reference(ro_9t__inv_1, (23.52,40.32), rotation=pi))
ro_9t_read.add(gdstk.Reference(ro_9t__filltie, (21.28,40.32), rotation=pi))
ro_9t_read.add(gdstk.Reference(ro_9t__inv_1, (20.16,40.32), rotation=pi))
ro_9t_read.add(gdstk.Reference(ro_9t__filltie, (31.36,40.32), rotation=pi))
ro_9t_read.add(gdstk.Reference(ro_9t__inv_1, (17.92,50.4)))
ro_9t_read.add(gdstk.Reference(ro_9t__filltie, (20.16,50.4)))
ro_9t_read.add(gdstk.Reference(ro_9t__inv_1, (21.28,50.4)))
ro_9t_read.add(gdstk.Reference(ro_9t__inv_1, (10.08,50.4), rotation=pi))
ro_9t_read.add(gdstk.Reference(ro_9t__filltie, (10.08,50.4)))
ro_9t_read.add(gdstk.Reference(ro_9t__inv_1, (11.2,50.4)))
ro_9t_read.add(gdstk.Reference(ro_9t__inv_1, (10.08,60.48), rotation=pi))
ro_9t_read.add(gdstk.Reference(ro_9t__filltie, (10.08,40.32)))
ro_9t_read.add(gdstk.Reference(ro_9t__inv_1, (7.84,40.32), rotation=pi))
ro_9t_read.add(gdstk.Reference(ro_9t__inv_1, (3.36,40.32), rotation=pi))
ro_9t_read.add(gdstk.Reference(ro_9t__filltie, (0,40.32)))
ro_9t_read.add(gdstk.Reference(ro_9t__inv_1, (1.12,40.32)))
ro_9t_read.add(gdstk.Reference(ro_9t__inv_1, (7.84,50.4), rotation=pi))
ro_9t_read.add(gdstk.Reference(ro_9t__inv_1, (3.36,40.32)))
ro_9t_read.add(gdstk.Reference(ro_9t__inv_1, (5.6,40.32)))
ro_9t_read.add(gdstk.Reference(ro_9t__inv_1, (3.36,50.4)))
ro_9t_read.add(gdstk.Reference(ro_9t__inv_1, (7.84,60.48), rotation=pi))
ro_9t_read.add(gdstk.Reference(ro_9t__inv_1, (5.6,60.48), rotation=pi))
ro_9t_read.add(gdstk.Reference(ro_9t__buf_1, (3.36,60.48), rotation=pi))
ro_9t_read.add(gdstk.Reference(ro_9t__inv_1, (5.6,50.4), rotation=pi))
ro_9t_read.add(gdstk.Reference(ro_9t__inv_1, (5.6,50.4)))
ro_9t_read.add(gdstk.Reference(ro_9t__inv_1, (3.36,50.4), rotation=pi))
ro_9t_read.add(gdstk.Reference(ro_9t__filltie, (0,50.4)))
ro_9t_read.add(gdstk.Reference(ro_9t__inv_1, (1.12,50.4)))
ro_9t_read.add(gdstk.Reference(ro_9t__inv_1, (5.6,40.32), rotation=pi))
ro_9t_read.add(gdstk.Reference(cryo_read_switch, (-5.75,57.19), rotation=pi, x_reflection=True))
ro_9t_read.add(gdstk.Reference(ro_9t__inv_1, (11.2,40.32)))
ro_9t_read.add(gdstk.Reference(ro_9t__inv_1, (13.44,40.32), rotation=pi))
ro_9t_read.add(gdstk.Reference(ro_9t__filltie, (11.2,40.32), rotation=pi))
ro_9t_read.add(gdstk.Reference(ro_9t__inv_1, (7.84,50.4)))
ro_9t_read.add(gdstk.Reference(ro_9t__inv_1, (13.44,50.4), rotation=pi))
ro_9t_read.add(gdstk.Reference(ro_9t__filltie, (11.2,50.4), rotation=pi))
ro_9t_read.add(gdstk.Reference(ro_9t__inv_1, (7.84,40.32)))
ro_9t_read.add(gdstk.Reference(ro_9t__inv_1, (13.44,60.48), rotation=pi))
ro_9t_read.add(gdstk.Reference(ro_9t__filltie, (11.2,60.48), rotation=pi))
ro_9t_read.add(gdstk.Reference(ro_9t__inv_1, (10.08,40.32), rotation=pi))
ro_9t_read.add(gdstk.Reference(ro_9t__filltie, (0,20.16)))
ro_9t_read.add(gdstk.Reference(ro_9t__inv_1, (1.12,20.16)))
ro_9t_read.add(gdstk.Reference(ro_9t__inv_1, (3.36,20.16)))
ro_9t_read.add(gdstk.Reference(ro_9t__inv_1, (5.6,20.16)))
ro_9t_read.add(gdstk.Reference(ro_9t__inv_1, (5.6,10.08)))
ro_9t_read.add(gdstk.Reference(ro_9t__filltie, (0,0)))
ro_9t_read.add(gdstk.Reference(ro_9t__nand2_1, (1.12,0)))
ro_9t_read.add(gdstk.Reference(ro_9t__inv_1, (3.92,0)))
ro_9t_read.add(gdstk.Reference(ro_9t__filltie, (0,10.08)))
ro_9t_read.add(gdstk.Reference(ro_9t__inv_1, (7.84,10.08), rotation=pi))
ro_9t_read.add(gdstk.Reference(ro_9t__inv_1, (5.6,10.08), rotation=pi))
ro_9t_read.add(gdstk.Reference(ro_9t__inv_1, (3.36,10.08), rotation=pi))
ro_9t_read.add(gdstk.Reference(ro_9t__inv_1, (6.16,0)))
ro_9t_read.add(gdstk.Reference(ro_9t__inv_1, (8.4,0)))
ro_9t_read.add(gdstk.Reference(ro_9t__inv_1, (10.08,20.16), rotation=pi))
ro_9t_read.add(gdstk.Reference(ro_9t__inv_1, (7.84,20.16)))
ro_9t_read.add(gdstk.Reference(ro_9t__inv_1, (10.08,10.08), rotation=pi))
ro_9t_read.add(gdstk.Reference(ro_9t__inv_1, (7.84,10.08)))
ro_9t_read.add(gdstk.Reference(ro_9t__filltie, (10.08,10.08)))
ro_9t_read.add(gdstk.Reference(ro_9t__inv_1, (11.2,10.08)))
ro_9t_read.add(gdstk.Reference(ro_9t__filltie, (10.08,20.16)))
ro_9t_read.add(gdstk.Reference(ro_9t__inv_1, (11.2,20.16)))
ro_9t_read.add(gdstk.Reference(ro_9t__inv_1, (1.12,10.08)))
ro_9t_read.add(gdstk.Reference(ro_9t__inv_1, (3.36,10.08)))
ro_9t_read.add(gdstk.Reference(ro_9t__filltie, (10.64,0)))
ro_9t_read.add(gdstk.Reference(ro_9t__inv_1, (13.44,10.08), rotation=pi))
ro_9t_read.add(gdstk.Reference(ro_9t__filltie, (11.2,10.08), rotation=pi))
ro_9t_read.add(gdstk.Reference(ro_9t__inv_1, (11.76,0)))
ro_9t_read.add(gdstk.Reference(ro_9t__inv_1, (13.44,20.16), rotation=pi))
ro_9t_read.add(gdstk.Reference(ro_9t__filltie, (11.2,20.16), rotation=pi))
ro_9t_read.add(gdstk.Reference(ro_9t__inv_1, (7.84,20.16), rotation=pi))
ro_9t_read.add(gdstk.Reference(ro_9t__inv_1, (5.6,20.16), rotation=pi))
ro_9t_read.add(gdstk.Reference(ro_9t__inv_1, (3.36,20.16), rotation=pi))
ro_9t_read.add(gdstk.Reference(ro_9t__inv_1, (20.16,20.16), rotation=pi))
ro_9t_read.add(gdstk.Reference(ro_9t__inv_1, (21.84,0)))
ro_9t_read.add(gdstk.Reference(ro_9t__inv_1, (24.08,0)))
ro_9t_read.add(gdstk.Reference(ro_9t__inv_1, (26.32,0)))
ro_9t_read.add(gdstk.Reference(ro_9t__inv_1, (28.56,0)))
ro_9t_read.add(gdstk.Reference(ro_9t__filltie, (31.36,10.08), rotation=pi))
ro_9t_read.add(gdstk.Reference(ro_9t__inv_1, (30.24,10.08), rotation=pi))
ro_9t_read.add(gdstk.Reference(ro_9t__inv_1, (28,10.08), rotation=pi))
ro_9t_read.add(gdstk.Reference(ro_9t__inv_1, (25.76,10.08), rotation=pi))
ro_9t_read.add(gdstk.Reference(ro_9t__inv_1, (23.52,10.08), rotation=pi))
ro_9t_read.add(gdstk.Reference(ro_9t__filltie, (21.28,10.08), rotation=pi))
ro_9t_read.add(gdstk.Reference(ro_9t__inv_1, (20.16,10.08), rotation=pi))
ro_9t_read.add(gdstk.Reference(ro_9t__inv_1, (16.24,0)))
ro_9t_read.add(gdstk.Reference(ro_9t__inv_1, (18.48,0)))
ro_9t_read.add(gdstk.Reference(ro_9t__filltie, (20.72,0)))
ro_9t_read.add(gdstk.Reference(ro_9t__inv_1, (17.92,10.08)))
ro_9t_read.add(gdstk.Reference(ro_9t__filltie, (20.16,10.08)))
ro_9t_read.add(gdstk.Reference(ro_9t__inv_1, (21.28,10.08)))
ro_9t_read.add(gdstk.Reference(ro_9t__inv_1, (17.92,20.16)))
ro_9t_read.add(gdstk.Reference(ro_9t__filltie, (20.16,20.16)))
ro_9t_read.add(gdstk.Reference(ro_9t__inv_1, (21.28,20.16)))
ro_9t_read.add(gdstk.Reference(ro_9t__inv_1, (23.52,20.16)))
ro_9t_read.add(gdstk.Reference(ro_9t__inv_1, (25.76,20.16)))
ro_9t_read.add(gdstk.Reference(ro_9t__inv_1, (28,20.16)))
ro_9t_read.add(gdstk.Reference(ro_9t__inv_1, (23.52,10.08)))
ro_9t_read.add(gdstk.Reference(ro_9t__inv_1, (25.76,10.08)))
ro_9t_read.add(gdstk.Reference(ro_9t__inv_1, (28,10.08)))
ro_9t_read.add(gdstk.Reference(ro_9t__filltie, (31.36,20.16), rotation=pi))
ro_9t_read.add(gdstk.Reference(ro_9t__inv_1, (30.24,20.16), rotation=pi))
ro_9t_read.add(gdstk.Reference(ro_9t__inv_1, (28,20.16), rotation=pi))
ro_9t_read.add(gdstk.Reference(ro_9t__inv_1, (25.76,20.16), rotation=pi))
ro_9t_read.add(gdstk.Reference(ro_9t__inv_1, (23.52,20.16), rotation=pi))
ro_9t_read.add(gdstk.Reference(ro_9t__filltie, (21.28,20.16), rotation=pi))
ro_9t_read.add(gdstk.Label('en', (1.86,2.1), layer=42, texttype=10))
ro_9t_read.add(gdstk.Label('out', (0.72,57.4), layer=42, texttype=10))
ro_9t_read.add(gdstk.Label('rx', (-6.82,57.4), layer=36, texttype=10))
ro_9t_read.add(gdstk.Label('vss', (-18.9,-15.45), layer=36, texttype=10))
ro_9t_read.add(gdstk.Label('vro', (50.26,75.93), layer=36, texttype=10))
ro_9t_read.add(gdstk.Label('read', (-6.39,58.57), layer=34, texttype=10))
ro_9t_read.add(gdstk.Label('read_b', (-12.19,58.57), layer=34, texttype=10))

lib.write_gds('ro_9t_read.gds')
